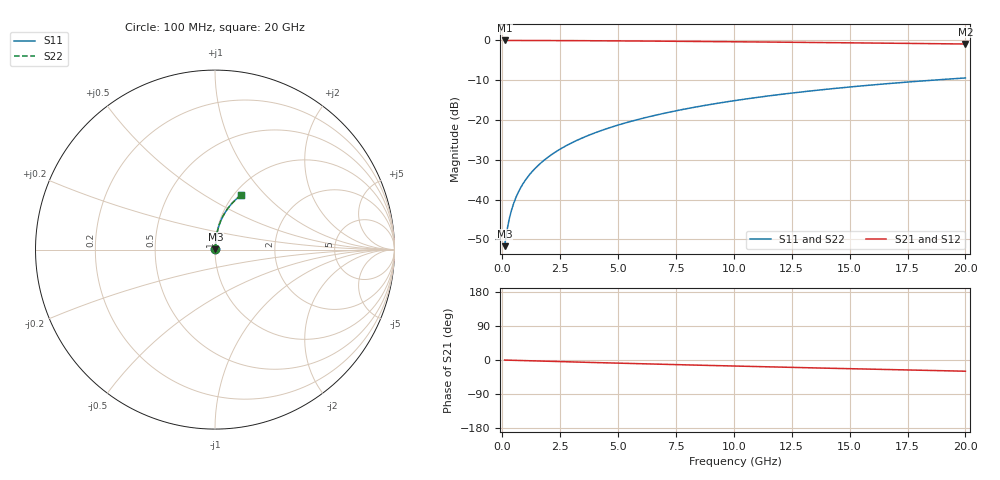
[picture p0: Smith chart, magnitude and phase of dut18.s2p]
! Touchstone file exported from HFSS 2024.1.0
!  File:  C:/UserFiles/LocalFiles/RDL_TSV_Batchsim/temp_RDL_bottom_18_1778691606.aedt
!  Generated:  01:02:48 AM May 14, 2026
!  Design:  RDL_bottom
!  Project:  temp_RDL_bottom_18_1778691606
!  Setup:  Setup1
!  Solution:  Sweep
! Variables:
!  dtsv = 10.80580581um
!  hbump = 3um
!  htsv = 82.72um
!  ldown = 359.58um
!  lrdl = 100um
!  p = 40
!  p1 = 55.38um
!  rhole = 1um
!  t = 450um
!  tdown = 4.34um
!  trdl = 3.915915916um
!  wdown = 16.92um
!  wrdl = 20um
# GHz S MA R 50.000000
! Terminal data exported
! Port[1] = RDL1_T1
! Port[2] = RDL1_T2
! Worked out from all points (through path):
!   200 points, 100 MHz to 20 GHz, reference 50 ohm
!   highest |S21| = -0.02 dB at 100 MHz (marker M1); lowest = -0.9 dB at 20 GHz (marker M2)
!   group delay of S21, straight-line fit = 4.09 ps
!   lowest |S11| = -51.7 dB at 100 MHz (marker M3), VSWR 1.01, Z = 50.2 + j0.18 ohm
!   |S11| at or under -10 dB: start of sweep to 18.59 GHz
!   |S22| runs from -51.7 to -9.4 dB; largest |S21 - S12| = 3.3e-15
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0.1  0.002591 43.8  0.9981 -0.2  0.9981 -0.2  0.002591 43.8
! Gamma 0 0 0 0
! Port Impedance 50 0 50 0
0.2  0.004055 61.9  0.9981 -0.4  0.9981 -0.4  0.004055 61.9
0.3  0.005698 69.8  0.998 -0.5  0.998 -0.5  0.005698 69.8
0.4  0.007389 74.0  0.9979 -0.7  0.9979 -0.7  0.007388 74.0
0.5  0.00909 76.6  0.9978 -0.9  0.9978 -0.9  0.009089 76.6
0.7  0.01249 79.5  0.9976 -1.2  0.9976 -1.2  0.01249 79.5
0.8  0.01418 80.5  0.9975 -1.4  0.9975 -1.4  0.01418 80.5
1  0.01756 81.8  0.9973 -1.7  0.9973 -1.7  0.01756 81.8
1.2  0.02094 82.7  0.997 -2.1  0.997 -2.1  0.02093 82.7
1.4  0.02432 83.3  0.9967 -2.4  0.9967 -2.4  0.02431 83.3
1.7  0.02939 83.9  0.9963 -2.9  0.9963 -2.9  0.02939 83.9
2  0.03448 84.2  0.9957 -3.4  0.9957 -3.4  0.03448 84.3
2.7  0.04643 84.5  0.994 -4.6  0.994 -4.6  0.04643 84.6
3.5  0.06018 84.4  0.9916 -5.9  0.9916 -5.9  0.06018 84.4
4.2  0.07231 84.0  0.9892 -7.0  0.9892 -7.0  0.07231 84.0
5  0.08626 83.4  0.9861 -8.3  0.9861 -8.3  0.08626 83.4
6.8  0.1179 81.7  0.978 -11.1  0.978 -11.1  0.1179 81.7
8.4  0.1462 79.9  0.97 -13.6  0.97 -13.6  0.1462 79.9
10.1  0.1762 77.7  0.961 -16.1  0.961 -16.1  0.1762 77.7
13.4  0.233 73.3  0.9421 -20.8  0.9421 -20.8  0.233 73.3
16.7  0.2869 68.7  0.922 -25.3  0.922 -25.3  0.287 68.7
20  0.3372 64.3  0.9008 -29.6  0.9008 -29.6  0.3372 64.3
